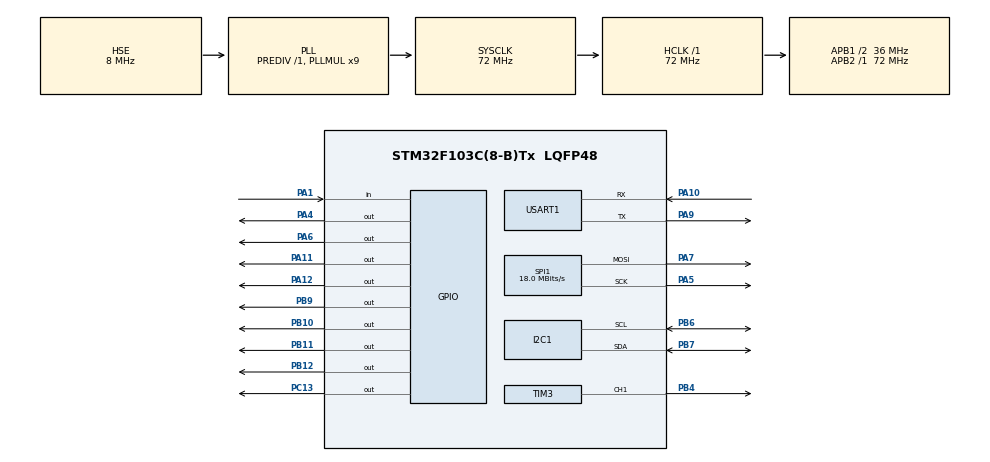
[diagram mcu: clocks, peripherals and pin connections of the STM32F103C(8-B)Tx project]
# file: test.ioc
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Dma.Request0=SPI1_TX
Dma.SPI1_TX.0.Direction=DMA_MEMORY_TO_PERIPH
Dma.SPI1_TX.0.Instance=DMA1_Channel3
Dma.SPI1_TX.0.MemDataAlignment=DMA_MDATAALIGN_BYTE
Dma.SPI1_TX.0.MemInc=DMA_MINC_ENABLE
Dma.SPI1_TX.0.Mode=DMA_NORMAL
Dma.SPI1_TX.0.PeriphDataAlignment=DMA_PDATAALIGN_BYTE
Dma.SPI1_TX.0.PeriphInc=DMA_PINC_DISABLE
Dma.SPI1_TX.0.Priority=DMA_PRIORITY_LOW
Mcu.Family=STM32F1
Mcu.Name=STM32F103C(8-B)Tx
Mcu.Package=LQFP48
NVIC.DMA1_Channel3_IRQn=true\:0\:0\:false\:false\:true\:false\:true\:true
NVIC.PriorityGroup=NVIC_PRIORITYGROUP_4
NVIC.SPI1_IRQn=true\:0\:0\:false\:false\:true\:true\:true\:true
NVIC.TIM3_IRQn=true\:0\:0\:false\:false\:true\:true\:true\:true
PA1.GPIO_PuPd=GPIO_PULLUP
PA1.Signal=GPIO_Input
PA10.Mode=Asynchronous
PA10.Signal=USART1_RX
PA11.GPIO_Speed=GPIO_SPEED_FREQ_HIGH
PA11.PinState=GPIO_PIN_SET
PA11.Signal=GPIO_Output
PA12.GPIO_Speed=GPIO_SPEED_FREQ_HIGH
PA12.PinState=GPIO_PIN_SET
PA12.Signal=GPIO_Output
PA13.Mode=Serial_Wire
PA13.Signal=SYS_JTMS-SWDIO
PA14.Mode=Serial_Wire
PA14.Signal=SYS_JTCK-SWCLK
PA4.GPIO_Speed=GPIO_SPEED_FREQ_HIGH
PA4.PinState=GPIO_PIN_RESET
PA4.Signal=GPIO_Output
PA5.Mode=TX_Only_Simplex_Unidirect_Master
PA5.Signal=SPI1_SCK
PA6.GPIO_Speed=GPIO_SPEED_FREQ_HIGH
PA6.Signal=GPIO_Output
PA7.Mode=TX_Only_Simplex_Unidirect_Master
PA7.Signal=SPI1_MOSI
PA9.Mode=Asynchronous
PA9.Signal=USART1_TX
PB10.GPIO_Speed=GPIO_SPEED_FREQ_HIGH
PB10.Signal=GPIO_Output
PB11.GPIO_Speed=GPIO_SPEED_FREQ_HIGH
PB11.Signal=GPIO_Output
PB12.GPIO_Speed=GPIO_SPEED_FREQ_HIGH
PB12.Signal=GPIO_Output
PB4.Signal=S_TIM3_CH1
PB6.Mode=I2C
PB6.Signal=I2C1_SCL
PB7.Mode=I2C
PB7.Signal=I2C1_SDA
PB9.GPIO_Speed=GPIO_SPEED_FREQ_HIGH
PB9.Signal=GPIO_Output
PC13-TAMPER-RTC.GPIO_PuPd=GPIO_PULLDOWN
PC13-TAMPER-RTC.GPIO_Speed=GPIO_SPEED_FREQ_HIGH
PC13-TAMPER-RTC.Signal=GPIO_Output
PD0-OSC_IN.Mode=HSE-External-Oscillator
PD0-OSC_IN.Signal=RCC_OSC_IN
PD1-OSC_OUT.Mode=HSE-External-Oscillator
PD1-OSC_OUT.Signal=RCC_OSC_OUT
ProjectManager.HeapSize=0x200
ProjectManager.StackSize=0x400
ProjectManager.TargetToolchain=MDK-ARM V5.32
RCC.AHBFreq_Value=72000000
RCC.APB1CLKDivider=RCC_HCLK_DIV2
RCC.APB1Freq_Value=36000000
RCC.APB1TimFreq_Value=72000000
RCC.APB2Freq_Value=72000000
RCC.APB2TimFreq_Value=72000000
RCC.HCLKFreq_Value=72000000
RCC.PLLMUL=RCC_PLL_MUL9
RCC.PLLSourceVirtual=RCC_PLLSOURCE_HSE
RCC.SYSCLKFreq_VALUE=72000000
RCC.SYSCLKSource=RCC_SYSCLKSOURCE_PLLCLK
RCC.USBFreq_Value=72000000
SH.S_TIM3_CH1.0=TIM3_CH1,PWM Generation1 CH1
SPI1.BaudRatePrescaler=SPI_BAUDRATEPRESCALER_4
SPI1.CalculateBaudRate=18.0 MBits/s
SPI1.Direction=SPI_DIRECTION_2LINES
SPI1.Mode=SPI_MODE_MASTER
SPI1.VirtualType=VM_MASTER
TIM3.AutoReloadPreload=TIM_AUTORELOAD_PRELOAD_ENABLE
TIM3.Channel-PWM\ Generation1\ CH1=TIM_CHANNEL_1
TIM3.Period=499
TIM3.Prescaler=71
USART1.VirtualMode=VM_ASYNC
VP_TIM3_VS_ClockSourceINT.Mode=Internal
board=custom

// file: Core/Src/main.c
/* USER CODE BEGIN Header */
/**
  ******************************************************************************
  * @file           : main.c
  * @brief          : Main program body
  ******************************************************************************
  * @attention
  *
  * Copyright (c) 2025 STMicroelectronics.
  * All rights reserved.
  *
  * This software is licensed under terms that can be found in the LICENSE file
  * in the root directory of this software component.
  * If no LICENSE file comes with this software, it is provided AS-IS.
  *
  ******************************************************************************
  */
/* USER CODE END Header */
#include "main.h"
#include "dma.h"
#include "i2c.h"
#include "spi.h"
#include "tim.h"
#include "usart.h"
#include "gpio.h"

/* USER CODE BEGIN Includes */
#include "lcd_st7735.h"
#include "stdio.h"
#include "math.h"
/* USER CODE END Includes */

/* USER CODE BEGIN PTD */
uint32_t sys_clk=0;
/* USER CODE END PTD */

/* USER CODE BEGIN PV */
#include <string.h>

#define ADDR_24LCxx_Write 0xA0
#define ADDR_24LCxx_Read 0xA1
uint8_t writedat;
uint8_t readdat;
uint16_t HelloY=0;
uint16_t fre=2*6137;
/* USER CODE END PV */

void SystemClock_Config(void);

int main(void)
{

  /* MCU Configuration--------------------------------------------------------*/

  /* Reset of all peripherals, Initializes the Flash interface and the Systick. */
  HAL_Init();

  /* Configure the system clock */
  SystemClock_Config();

  /* Initialize all configured peripherals */
  MX_GPIO_Init();
  MX_DMA_Init();
  MX_USART1_UART_Init();
  MX_I2C1_Init();
  MX_SPI1_Init();
  MX_TIM3_Init();
  /* USER CODE BEGIN 2 */
	HAL_TIM_PWM_Start(&htim3,TIM_CHANNEL_1);
	tft_init();
	lcd_clear(WHITE);
  LCD_ShowCharStr(0, HelloY, 80, "HELLOWORLD", BLUE , BLACK, 16);
	TIM3->PSC=0;
	TIM3->ARR=7;
	TIM3->CCR1=4;
//IIC实验
/*
HAL_I2C_Mem_Write()
HAL_I2C_Mem_Read()
*/

//    writedat=0x46;
//		HAL_I2C_Mem_Write(&hi2c1, ADDR_24LCxx_Write,16, I2C_MEMADD_SIZE_16BIT,&writedat,8, 1000);
//		HAL_Delay(20);
//		HAL_I2C_Mem_Read(&hi2c1, ADDR_24LCxx_Read, 0, I2C_MEMADD_SIZE_16BIT,&readdat,1, 1000);
//		printf("1:0x%2X\r\n",readdat);
//		HAL_Delay(20);
//		HAL_I2C_Mem_Read(&hi2c1, ADDR_24LCxx_Read, 16, I2C_MEMADD_SIZE_16BIT,&readdat,1, 1000);
//		printf("2:0x%2X\r\n",readdat);

  /* USER CODE END 2 */

  /* Infinite loop */
  /* USER CODE BEGIN WHILE */
	uint32_t key_value1 = 0;
	uint32_t key_value2 = 0;
	uint32_t key_value3 = 0;
	key_value1 = HAL_GPIO_ReadPin(GPIOA,GPIO_PIN_1);
	float k=2*3.14*fre*1000/72000000;
  while (1)
  {
//		HAL_Delay(1000);
//		HAL_GPIO_WritePin(GPIOC,GPIO_PIN_13,GPIO_PIN_SET);
//		HAL_Delay(1000);
//		HAL_GPIO_WritePin(GPIOC,GPIO_PIN_13,GPIO_PIN_RESET);
//		printf("hello world\r\n");
	  			//消抖

//		HAL_Delay(20);
//		//读取按键电平状态
//		key_value2 = key_value1;
//		key_value1 = HAL_GPIO_ReadPin(GPIOA,GPIO_PIN_1);
////		HAL_Delay(10);
////		key_value3 = HAL_GPIO_ReadPin(GPIOA,GPIO_PIN_1);
//		if((key_value1 == 0)&&(key_value2==1))
//		{
//			HelloY+=16;
//			lcd_clear(WHITE);
//			LCD_ShowCharStr(0, HelloY, 80, "HELLOWORLD", BLUE , BLACK, 16);
//		}
//		if((key_value1 == 0)&&(key_value2==1)&&(key_value3==0))
//		{
//			HelloY-=16;
//			lcd_clear(WHITE);
//			LCD_ShowCharStr(0, HelloY, 80, "HELLOWORLD", BLUE , BLACK, 16);
//		}

		//dac

for(int i=0;i<72000/fre;i++)
{
	TIM3->CCR1=4*sin(k*i)+4;
}

    /* USER CODE END WHILE */

  }
}

void SystemClock_Config(void)
{
  RCC_OscInitTypeDef RCC_OscInitStruct = {0};
  RCC_ClkInitTypeDef RCC_ClkInitStruct = {0};

  /** Initializes the RCC Oscillators according to the specified parameters
  * in the RCC_OscInitTypeDef structure.
  */
  RCC_OscInitStruct.OscillatorType = RCC_OSCILLATORTYPE_HSE;
  RCC_OscInitStruct.HSEState = RCC_HSE_ON;
  RCC_OscInitStruct.HSEPredivValue = RCC_HSE_PREDIV_DIV1;
  RCC_OscInitStruct.HSIState = RCC_HSI_ON;
  RCC_OscInitStruct.PLL.PLLState = RCC_PLL_ON;
  RCC_OscInitStruct.PLL.PLLSource = RCC_PLLSOURCE_HSE;
  RCC_OscInitStruct.PLL.PLLMUL = RCC_PLL_MUL9;
  if (HAL_RCC_OscConfig(&RCC_OscInitStruct) != HAL_OK)
  {
    Error_Handler();
  }

  /** Initializes the CPU, AHB and APB buses clocks
  */
  RCC_ClkInitStruct.ClockType = RCC_CLOCKTYPE_HCLK|RCC_CLOCKTYPE_SYSCLK
                              |RCC_CLOCKTYPE_PCLK1|RCC_CLOCKTYPE_PCLK2;
  RCC_ClkInitStruct.SYSCLKSource = RCC_SYSCLKSOURCE_PLLCLK;
  RCC_ClkInitStruct.AHBCLKDivider = RCC_SYSCLK_DIV1;
  RCC_ClkInitStruct.APB1CLKDivider = RCC_HCLK_DIV2;
  RCC_ClkInitStruct.APB2CLKDivider = RCC_HCLK_DIV1;

  if (HAL_RCC_ClockConfig(&RCC_ClkInitStruct, FLASH_LATENCY_2) != HAL_OK)
  {
    Error_Handler();
  }
}

void Error_Handler(void)
{
  __disable_irq();
  while (1)
  {
  }
}
